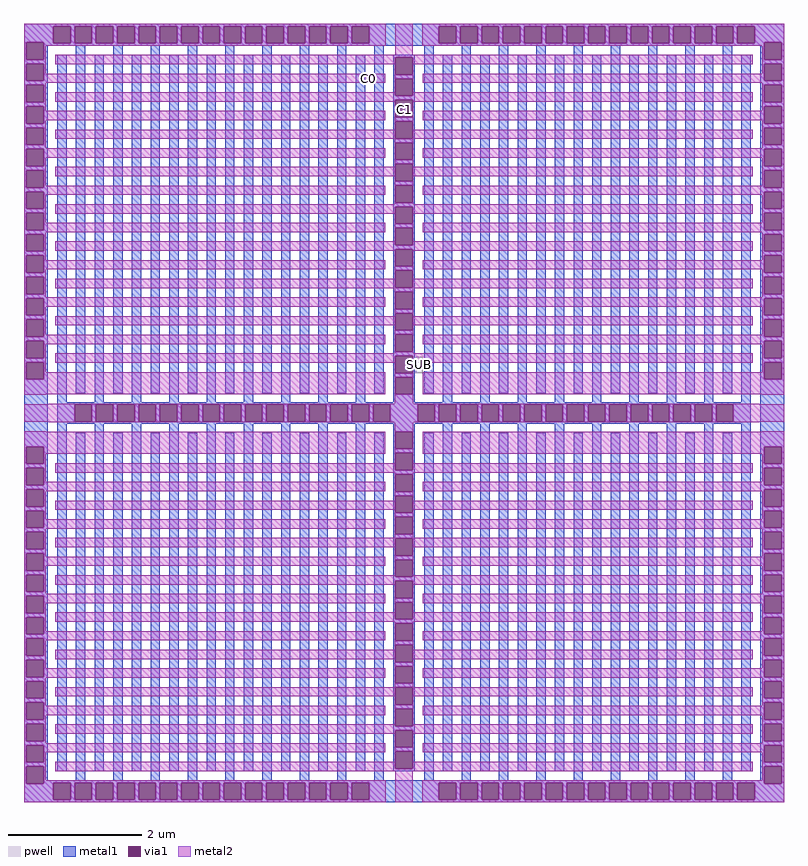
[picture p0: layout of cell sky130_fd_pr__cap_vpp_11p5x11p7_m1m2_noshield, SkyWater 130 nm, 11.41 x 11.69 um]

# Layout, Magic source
magic
tech sky130A
magscale 1 2
<< pwell >>
rect 1176 1289 1197 1338
<< metal1 >>
rect 0 2331 2282 2338
rect 0 2282 88 2331
rect 0 2230 7 2282
rect 59 2279 88 2282
rect 140 2279 152 2331
rect 204 2279 216 2331
rect 268 2279 280 2331
rect 332 2279 344 2331
rect 396 2279 408 2331
rect 460 2279 472 2331
rect 524 2279 536 2331
rect 588 2279 600 2331
rect 652 2279 664 2331
rect 716 2279 728 2331
rect 780 2279 792 2331
rect 844 2279 856 2331
rect 908 2279 920 2331
rect 972 2279 984 2331
rect 1036 2279 1246 2331
rect 1298 2279 1310 2331
rect 1362 2279 1374 2331
rect 1426 2279 1438 2331
rect 1490 2279 1502 2331
rect 1554 2279 1566 2331
rect 1618 2279 1630 2331
rect 1682 2279 1694 2331
rect 1746 2279 1758 2331
rect 1810 2279 1822 2331
rect 1874 2279 1886 2331
rect 1938 2279 1950 2331
rect 2002 2279 2014 2331
rect 2066 2279 2078 2331
rect 2130 2279 2142 2331
rect 2194 2282 2282 2331
rect 2194 2279 2223 2282
rect 59 2272 2223 2279
rect 59 2230 72 2272
rect 0 2218 72 2230
rect 0 2166 7 2218
rect 59 2166 72 2218
rect 0 2154 72 2166
rect 0 2102 7 2154
rect 59 2102 72 2154
rect 0 2090 72 2102
rect 0 2038 7 2090
rect 59 2038 72 2090
rect 0 2026 72 2038
rect 0 1974 7 2026
rect 59 1974 72 2026
rect 0 1962 72 1974
rect 0 1910 7 1962
rect 59 1910 72 1962
rect 0 1898 72 1910
rect 0 1846 7 1898
rect 59 1846 72 1898
rect 0 1834 72 1846
rect 0 1782 7 1834
rect 59 1782 72 1834
rect 0 1770 72 1782
rect 0 1718 7 1770
rect 59 1718 72 1770
rect 0 1706 72 1718
rect 0 1654 7 1706
rect 59 1654 72 1706
rect 0 1642 72 1654
rect 0 1590 7 1642
rect 59 1590 72 1642
rect 0 1578 72 1590
rect 0 1526 7 1578
rect 59 1526 72 1578
rect 0 1514 72 1526
rect 0 1462 7 1514
rect 59 1462 72 1514
rect 0 1450 72 1462
rect 0 1398 7 1450
rect 59 1398 72 1450
rect 0 1386 72 1398
rect 0 1334 7 1386
rect 59 1334 72 1386
rect 0 1322 72 1334
rect 0 1270 7 1322
rect 59 1270 72 1322
rect 0 1068 72 1270
rect 0 1016 7 1068
rect 59 1016 72 1068
rect 0 1004 72 1016
rect 0 952 7 1004
rect 59 952 72 1004
rect 0 940 72 952
rect 0 888 7 940
rect 59 888 72 940
rect 0 876 72 888
rect 0 824 7 876
rect 59 824 72 876
rect 0 812 72 824
rect 0 760 7 812
rect 59 760 72 812
rect 0 748 72 760
rect 0 696 7 748
rect 59 696 72 748
rect 0 684 72 696
rect 0 632 7 684
rect 59 632 72 684
rect 0 620 72 632
rect 0 568 7 620
rect 59 568 72 620
rect 0 556 72 568
rect 0 504 7 556
rect 59 504 72 556
rect 0 492 72 504
rect 0 440 7 492
rect 59 440 72 492
rect 0 428 72 440
rect 0 376 7 428
rect 59 376 72 428
rect 0 364 72 376
rect 0 312 7 364
rect 59 312 72 364
rect 0 300 72 312
rect 0 248 7 300
rect 59 248 72 300
rect 0 236 72 248
rect 0 184 7 236
rect 59 184 72 236
rect 0 172 72 184
rect 0 120 7 172
rect 59 120 72 172
rect 0 108 72 120
rect 0 56 7 108
rect 59 66 72 108
rect 100 1201 128 2244
rect 156 1229 184 2272
rect 212 1201 240 2244
rect 268 1229 296 2272
rect 324 1201 352 2244
rect 380 1229 408 2272
rect 436 1201 464 2244
rect 492 1229 520 2272
rect 548 1201 576 2244
rect 604 1229 632 2272
rect 660 1201 688 2244
rect 716 1229 744 2272
rect 772 1201 800 2244
rect 828 1229 856 2272
rect 884 1201 912 2244
rect 940 1229 968 2272
rect 996 1201 1024 2244
rect 1052 1229 1080 2272
rect 1108 2237 1174 2244
rect 1108 2185 1115 2237
rect 1167 2185 1174 2237
rect 1108 2173 1174 2185
rect 1108 2121 1115 2173
rect 1167 2121 1174 2173
rect 1108 2109 1174 2121
rect 1108 2057 1115 2109
rect 1167 2057 1174 2109
rect 1108 2045 1174 2057
rect 1108 1993 1115 2045
rect 1167 1993 1174 2045
rect 1108 1981 1174 1993
rect 1108 1929 1115 1981
rect 1167 1929 1174 1981
rect 1108 1917 1174 1929
rect 1108 1865 1115 1917
rect 1167 1865 1174 1917
rect 1108 1853 1174 1865
rect 1108 1801 1115 1853
rect 1167 1801 1174 1853
rect 1108 1789 1174 1801
rect 1108 1737 1115 1789
rect 1167 1737 1174 1789
rect 1108 1725 1174 1737
rect 1108 1673 1115 1725
rect 1167 1673 1174 1725
rect 1108 1661 1174 1673
rect 1108 1609 1115 1661
rect 1167 1609 1174 1661
rect 1108 1597 1174 1609
rect 1108 1545 1115 1597
rect 1167 1545 1174 1597
rect 1108 1533 1174 1545
rect 1108 1481 1115 1533
rect 1167 1481 1174 1533
rect 1108 1469 1174 1481
rect 1108 1417 1115 1469
rect 1167 1417 1174 1469
rect 1108 1405 1174 1417
rect 1108 1353 1115 1405
rect 1167 1353 1174 1405
rect 1108 1341 1174 1353
rect 1108 1289 1115 1341
rect 1167 1289 1174 1341
rect 1108 1277 1174 1289
rect 1108 1225 1115 1277
rect 1167 1225 1174 1277
rect 1202 1229 1230 2272
rect 1108 1201 1174 1225
rect 1258 1201 1286 2244
rect 1314 1229 1342 2272
rect 1370 1201 1398 2244
rect 1426 1229 1454 2272
rect 1482 1201 1510 2244
rect 1538 1229 1566 2272
rect 1594 1201 1622 2244
rect 1650 1229 1678 2272
rect 1706 1201 1734 2244
rect 1762 1229 1790 2272
rect 1818 1201 1846 2244
rect 1874 1229 1902 2272
rect 1930 1201 1958 2244
rect 1986 1229 2014 2272
rect 2042 1201 2070 2244
rect 2098 1229 2126 2272
rect 2154 1201 2182 2244
rect 100 1195 2182 1201
rect 100 1143 152 1195
rect 204 1143 216 1195
rect 268 1143 280 1195
rect 332 1143 344 1195
rect 396 1143 408 1195
rect 460 1143 472 1195
rect 524 1143 536 1195
rect 588 1143 600 1195
rect 652 1143 664 1195
rect 716 1143 728 1195
rect 780 1143 792 1195
rect 844 1143 856 1195
rect 908 1143 920 1195
rect 972 1143 984 1195
rect 1036 1143 1048 1195
rect 1100 1143 1182 1195
rect 1234 1143 1246 1195
rect 1298 1143 1310 1195
rect 1362 1143 1374 1195
rect 1426 1143 1438 1195
rect 1490 1143 1502 1195
rect 1554 1143 1566 1195
rect 1618 1143 1630 1195
rect 1682 1143 1694 1195
rect 1746 1143 1758 1195
rect 1810 1143 1822 1195
rect 1874 1143 1886 1195
rect 1938 1143 1950 1195
rect 2002 1143 2014 1195
rect 2066 1143 2078 1195
rect 2130 1143 2182 1195
rect 100 1137 2182 1143
rect 100 94 128 1137
rect 156 66 184 1109
rect 212 94 240 1137
rect 268 66 296 1109
rect 324 94 352 1137
rect 380 66 408 1109
rect 436 94 464 1137
rect 492 66 520 1109
rect 548 94 576 1137
rect 604 66 632 1109
rect 660 94 688 1137
rect 716 66 744 1109
rect 772 94 800 1137
rect 828 66 856 1109
rect 884 94 912 1137
rect 940 66 968 1109
rect 996 94 1024 1137
rect 1108 1113 1174 1137
rect 1052 66 1080 1109
rect 1108 1061 1115 1113
rect 1167 1061 1174 1113
rect 1108 1049 1174 1061
rect 1108 997 1115 1049
rect 1167 997 1174 1049
rect 1108 985 1174 997
rect 1108 933 1115 985
rect 1167 933 1174 985
rect 1108 921 1174 933
rect 1108 869 1115 921
rect 1167 869 1174 921
rect 1108 857 1174 869
rect 1108 805 1115 857
rect 1167 805 1174 857
rect 1108 793 1174 805
rect 1108 741 1115 793
rect 1167 741 1174 793
rect 1108 729 1174 741
rect 1108 677 1115 729
rect 1167 677 1174 729
rect 1108 665 1174 677
rect 1108 613 1115 665
rect 1167 613 1174 665
rect 1108 601 1174 613
rect 1108 549 1115 601
rect 1167 549 1174 601
rect 1108 537 1174 549
rect 1108 485 1115 537
rect 1167 485 1174 537
rect 1108 473 1174 485
rect 1108 421 1115 473
rect 1167 421 1174 473
rect 1108 409 1174 421
rect 1108 357 1115 409
rect 1167 357 1174 409
rect 1108 345 1174 357
rect 1108 293 1115 345
rect 1167 293 1174 345
rect 1108 281 1174 293
rect 1108 229 1115 281
rect 1167 229 1174 281
rect 1108 217 1174 229
rect 1108 165 1115 217
rect 1167 165 1174 217
rect 1108 153 1174 165
rect 1108 101 1115 153
rect 1167 101 1174 153
rect 1108 94 1174 101
rect 1202 66 1230 1109
rect 1258 94 1286 1137
rect 1314 66 1342 1109
rect 1370 94 1398 1137
rect 1426 66 1454 1109
rect 1482 94 1510 1137
rect 1538 66 1566 1109
rect 1594 94 1622 1137
rect 1650 66 1678 1109
rect 1706 94 1734 1137
rect 1762 66 1790 1109
rect 1818 94 1846 1137
rect 1874 66 1902 1109
rect 1930 94 1958 1137
rect 1986 66 2014 1109
rect 2042 94 2070 1137
rect 2098 66 2126 1109
rect 2154 94 2182 1137
rect 2210 2230 2223 2272
rect 2275 2230 2282 2282
rect 2210 2218 2282 2230
rect 2210 2166 2223 2218
rect 2275 2166 2282 2218
rect 2210 2154 2282 2166
rect 2210 2102 2223 2154
rect 2275 2102 2282 2154
rect 2210 2090 2282 2102
rect 2210 2038 2223 2090
rect 2275 2038 2282 2090
rect 2210 2026 2282 2038
rect 2210 1974 2223 2026
rect 2275 1974 2282 2026
rect 2210 1962 2282 1974
rect 2210 1910 2223 1962
rect 2275 1910 2282 1962
rect 2210 1898 2282 1910
rect 2210 1846 2223 1898
rect 2275 1846 2282 1898
rect 2210 1834 2282 1846
rect 2210 1782 2223 1834
rect 2275 1782 2282 1834
rect 2210 1770 2282 1782
rect 2210 1718 2223 1770
rect 2275 1718 2282 1770
rect 2210 1706 2282 1718
rect 2210 1654 2223 1706
rect 2275 1654 2282 1706
rect 2210 1642 2282 1654
rect 2210 1590 2223 1642
rect 2275 1590 2282 1642
rect 2210 1578 2282 1590
rect 2210 1526 2223 1578
rect 2275 1526 2282 1578
rect 2210 1514 2282 1526
rect 2210 1462 2223 1514
rect 2275 1462 2282 1514
rect 2210 1450 2282 1462
rect 2210 1398 2223 1450
rect 2275 1398 2282 1450
rect 2210 1386 2282 1398
rect 2210 1334 2223 1386
rect 2275 1334 2282 1386
rect 2210 1322 2282 1334
rect 2210 1270 2223 1322
rect 2275 1270 2282 1322
rect 2210 1068 2282 1270
rect 2210 1016 2223 1068
rect 2275 1016 2282 1068
rect 2210 1004 2282 1016
rect 2210 952 2223 1004
rect 2275 952 2282 1004
rect 2210 940 2282 952
rect 2210 888 2223 940
rect 2275 888 2282 940
rect 2210 876 2282 888
rect 2210 824 2223 876
rect 2275 824 2282 876
rect 2210 812 2282 824
rect 2210 760 2223 812
rect 2275 760 2282 812
rect 2210 748 2282 760
rect 2210 696 2223 748
rect 2275 696 2282 748
rect 2210 684 2282 696
rect 2210 632 2223 684
rect 2275 632 2282 684
rect 2210 620 2282 632
rect 2210 568 2223 620
rect 2275 568 2282 620
rect 2210 556 2282 568
rect 2210 504 2223 556
rect 2275 504 2282 556
rect 2210 492 2282 504
rect 2210 440 2223 492
rect 2275 440 2282 492
rect 2210 428 2282 440
rect 2210 376 2223 428
rect 2275 376 2282 428
rect 2210 364 2282 376
rect 2210 312 2223 364
rect 2275 312 2282 364
rect 2210 300 2282 312
rect 2210 248 2223 300
rect 2275 248 2282 300
rect 2210 236 2282 248
rect 2210 184 2223 236
rect 2275 184 2282 236
rect 2210 172 2282 184
rect 2210 120 2223 172
rect 2275 120 2282 172
rect 2210 108 2282 120
rect 2210 66 2223 108
rect 59 59 2223 66
rect 59 56 88 59
rect 0 7 88 56
rect 140 7 152 59
rect 204 7 216 59
rect 268 7 280 59
rect 332 7 344 59
rect 396 7 408 59
rect 460 7 472 59
rect 524 7 536 59
rect 588 7 600 59
rect 652 7 664 59
rect 716 7 728 59
rect 780 7 792 59
rect 844 7 856 59
rect 908 7 920 59
rect 972 7 984 59
rect 1036 7 1246 59
rect 1298 7 1310 59
rect 1362 7 1374 59
rect 1426 7 1438 59
rect 1490 7 1502 59
rect 1554 7 1566 59
rect 1618 7 1630 59
rect 1682 7 1694 59
rect 1746 7 1758 59
rect 1810 7 1822 59
rect 1874 7 1886 59
rect 1938 7 1950 59
rect 2002 7 2014 59
rect 2066 7 2078 59
rect 2130 7 2142 59
rect 2194 56 2223 59
rect 2275 56 2282 108
rect 2194 7 2282 56
rect 0 0 2282 7
<< via1 >>
rect 7 2230 59 2282
rect 88 2279 140 2331
rect 152 2279 204 2331
rect 216 2279 268 2331
rect 280 2279 332 2331
rect 344 2279 396 2331
rect 408 2279 460 2331
rect 472 2279 524 2331
rect 536 2279 588 2331
rect 600 2279 652 2331
rect 664 2279 716 2331
rect 728 2279 780 2331
rect 792 2279 844 2331
rect 856 2279 908 2331
rect 920 2279 972 2331
rect 984 2279 1036 2331
rect 1246 2279 1298 2331
rect 1310 2279 1362 2331
rect 1374 2279 1426 2331
rect 1438 2279 1490 2331
rect 1502 2279 1554 2331
rect 1566 2279 1618 2331
rect 1630 2279 1682 2331
rect 1694 2279 1746 2331
rect 1758 2279 1810 2331
rect 1822 2279 1874 2331
rect 1886 2279 1938 2331
rect 1950 2279 2002 2331
rect 2014 2279 2066 2331
rect 2078 2279 2130 2331
rect 2142 2279 2194 2331
rect 7 2166 59 2218
rect 7 2102 59 2154
rect 7 2038 59 2090
rect 7 1974 59 2026
rect 7 1910 59 1962
rect 7 1846 59 1898
rect 7 1782 59 1834
rect 7 1718 59 1770
rect 7 1654 59 1706
rect 7 1590 59 1642
rect 7 1526 59 1578
rect 7 1462 59 1514
rect 7 1398 59 1450
rect 7 1334 59 1386
rect 7 1270 59 1322
rect 7 1016 59 1068
rect 7 952 59 1004
rect 7 888 59 940
rect 7 824 59 876
rect 7 760 59 812
rect 7 696 59 748
rect 7 632 59 684
rect 7 568 59 620
rect 7 504 59 556
rect 7 440 59 492
rect 7 376 59 428
rect 7 312 59 364
rect 7 248 59 300
rect 7 184 59 236
rect 7 120 59 172
rect 7 56 59 108
rect 1115 2185 1167 2237
rect 1115 2121 1167 2173
rect 1115 2057 1167 2109
rect 1115 1993 1167 2045
rect 1115 1929 1167 1981
rect 1115 1865 1167 1917
rect 1115 1801 1167 1853
rect 1115 1737 1167 1789
rect 1115 1673 1167 1725
rect 1115 1609 1167 1661
rect 1115 1545 1167 1597
rect 1115 1481 1167 1533
rect 1115 1417 1167 1469
rect 1115 1353 1167 1405
rect 1115 1289 1167 1341
rect 1115 1225 1167 1277
rect 152 1143 204 1195
rect 216 1143 268 1195
rect 280 1143 332 1195
rect 344 1143 396 1195
rect 408 1143 460 1195
rect 472 1143 524 1195
rect 536 1143 588 1195
rect 600 1143 652 1195
rect 664 1143 716 1195
rect 728 1143 780 1195
rect 792 1143 844 1195
rect 856 1143 908 1195
rect 920 1143 972 1195
rect 984 1143 1036 1195
rect 1048 1143 1100 1195
rect 1182 1143 1234 1195
rect 1246 1143 1298 1195
rect 1310 1143 1362 1195
rect 1374 1143 1426 1195
rect 1438 1143 1490 1195
rect 1502 1143 1554 1195
rect 1566 1143 1618 1195
rect 1630 1143 1682 1195
rect 1694 1143 1746 1195
rect 1758 1143 1810 1195
rect 1822 1143 1874 1195
rect 1886 1143 1938 1195
rect 1950 1143 2002 1195
rect 2014 1143 2066 1195
rect 2078 1143 2130 1195
rect 1115 1061 1167 1113
rect 1115 997 1167 1049
rect 1115 933 1167 985
rect 1115 869 1167 921
rect 1115 805 1167 857
rect 1115 741 1167 793
rect 1115 677 1167 729
rect 1115 613 1167 665
rect 1115 549 1167 601
rect 1115 485 1167 537
rect 1115 421 1167 473
rect 1115 357 1167 409
rect 1115 293 1167 345
rect 1115 229 1167 281
rect 1115 165 1167 217
rect 1115 101 1167 153
rect 2223 2230 2275 2282
rect 2223 2166 2275 2218
rect 2223 2102 2275 2154
rect 2223 2038 2275 2090
rect 2223 1974 2275 2026
rect 2223 1910 2275 1962
rect 2223 1846 2275 1898
rect 2223 1782 2275 1834
rect 2223 1718 2275 1770
rect 2223 1654 2275 1706
rect 2223 1590 2275 1642
rect 2223 1526 2275 1578
rect 2223 1462 2275 1514
rect 2223 1398 2275 1450
rect 2223 1334 2275 1386
rect 2223 1270 2275 1322
rect 2223 1016 2275 1068
rect 2223 952 2275 1004
rect 2223 888 2275 940
rect 2223 824 2275 876
rect 2223 760 2275 812
rect 2223 696 2275 748
rect 2223 632 2275 684
rect 2223 568 2275 620
rect 2223 504 2275 556
rect 2223 440 2275 492
rect 2223 376 2275 428
rect 2223 312 2275 364
rect 2223 248 2275 300
rect 2223 184 2275 236
rect 2223 120 2275 172
rect 88 7 140 59
rect 152 7 204 59
rect 216 7 268 59
rect 280 7 332 59
rect 344 7 396 59
rect 408 7 460 59
rect 472 7 524 59
rect 536 7 588 59
rect 600 7 652 59
rect 664 7 716 59
rect 728 7 780 59
rect 792 7 844 59
rect 856 7 908 59
rect 920 7 972 59
rect 984 7 1036 59
rect 1246 7 1298 59
rect 1310 7 1362 59
rect 1374 7 1426 59
rect 1438 7 1490 59
rect 1502 7 1554 59
rect 1566 7 1618 59
rect 1630 7 1682 59
rect 1694 7 1746 59
rect 1758 7 1810 59
rect 1822 7 1874 59
rect 1886 7 1938 59
rect 1950 7 2002 59
rect 2014 7 2066 59
rect 2078 7 2130 59
rect 2142 7 2194 59
rect 2223 56 2275 108
<< metal2 >>
rect 0 2331 1086 2338
rect 0 2282 88 2331
rect 0 2230 7 2282
rect 59 2279 88 2282
rect 140 2279 152 2331
rect 204 2279 216 2331
rect 268 2279 280 2331
rect 332 2279 344 2331
rect 396 2279 408 2331
rect 460 2279 472 2331
rect 524 2279 536 2331
rect 588 2279 600 2331
rect 652 2279 664 2331
rect 716 2279 728 2331
rect 780 2279 792 2331
rect 844 2279 856 2331
rect 908 2279 920 2331
rect 972 2279 984 2331
rect 1036 2279 1086 2331
rect 59 2272 1086 2279
rect 59 2230 66 2272
rect 1114 2244 1168 2338
rect 1196 2331 2282 2338
rect 1196 2279 1246 2331
rect 1298 2279 1310 2331
rect 1362 2279 1374 2331
rect 1426 2279 1438 2331
rect 1490 2279 1502 2331
rect 1554 2279 1566 2331
rect 1618 2279 1630 2331
rect 1682 2279 1694 2331
rect 1746 2279 1758 2331
rect 1810 2279 1822 2331
rect 1874 2279 1886 2331
rect 1938 2279 1950 2331
rect 2002 2279 2014 2331
rect 2066 2279 2078 2331
rect 2130 2279 2142 2331
rect 2194 2282 2282 2331
rect 2194 2279 2223 2282
rect 1196 2272 2223 2279
rect 0 2218 66 2230
rect 0 2166 7 2218
rect 59 2188 66 2218
rect 94 2237 2188 2244
rect 94 2216 1115 2237
rect 59 2166 1085 2188
rect 0 2160 1085 2166
rect 1113 2185 1115 2216
rect 1167 2216 2188 2237
rect 2216 2230 2223 2272
rect 2275 2230 2282 2282
rect 2216 2218 2282 2230
rect 1167 2185 1169 2216
rect 2216 2188 2223 2218
rect 1113 2173 1169 2185
rect 0 2154 66 2160
rect 0 2102 7 2154
rect 59 2102 66 2154
rect 1113 2132 1115 2173
rect 94 2121 1115 2132
rect 1167 2132 1169 2173
rect 1197 2166 2223 2188
rect 2275 2166 2282 2218
rect 1197 2160 2282 2166
rect 2216 2154 2282 2160
rect 1167 2121 2188 2132
rect 94 2109 2188 2121
rect 94 2104 1115 2109
rect 0 2090 66 2102
rect 0 2038 7 2090
rect 59 2076 66 2090
rect 59 2048 1085 2076
rect 1113 2057 1115 2104
rect 1167 2104 2188 2109
rect 1167 2057 1169 2104
rect 2216 2102 2223 2154
rect 2275 2102 2282 2154
rect 2216 2090 2282 2102
rect 2216 2076 2223 2090
rect 59 2038 66 2048
rect 0 2026 66 2038
rect 0 1974 7 2026
rect 59 1974 66 2026
rect 1113 2045 1169 2057
rect 1197 2048 2223 2076
rect 1113 2020 1115 2045
rect 94 1993 1115 2020
rect 1167 2020 1169 2045
rect 2216 2038 2223 2048
rect 2275 2038 2282 2090
rect 2216 2026 2282 2038
rect 1167 1993 2188 2020
rect 94 1992 2188 1993
rect 0 1964 66 1974
rect 1113 1981 1169 1992
rect 0 1962 1085 1964
rect 0 1910 7 1962
rect 59 1936 1085 1962
rect 59 1910 66 1936
rect 0 1898 66 1910
rect 1113 1929 1115 1981
rect 1167 1929 1169 1981
rect 2216 1974 2223 2026
rect 2275 1974 2282 2026
rect 2216 1964 2282 1974
rect 1197 1962 2282 1964
rect 1197 1936 2223 1962
rect 1113 1917 1169 1929
rect 1113 1908 1115 1917
rect 0 1846 7 1898
rect 59 1852 66 1898
rect 94 1880 1115 1908
rect 1113 1865 1115 1880
rect 1167 1908 1169 1917
rect 2216 1910 2223 1936
rect 2275 1910 2282 1962
rect 1167 1880 2188 1908
rect 2216 1898 2282 1910
rect 1167 1865 1169 1880
rect 1113 1853 1169 1865
rect 59 1846 1085 1852
rect 0 1834 1085 1846
rect 0 1782 7 1834
rect 59 1824 1085 1834
rect 59 1782 66 1824
rect 1113 1801 1115 1853
rect 1167 1801 1169 1853
rect 2216 1852 2223 1898
rect 1197 1846 2223 1852
rect 2275 1846 2282 1898
rect 1197 1834 2282 1846
rect 1197 1824 2223 1834
rect 1113 1796 1169 1801
rect 0 1770 66 1782
rect 0 1718 7 1770
rect 59 1740 66 1770
rect 94 1789 2188 1796
rect 94 1768 1115 1789
rect 59 1718 1085 1740
rect 0 1712 1085 1718
rect 1113 1737 1115 1768
rect 1167 1768 2188 1789
rect 2216 1782 2223 1824
rect 2275 1782 2282 1834
rect 2216 1770 2282 1782
rect 1167 1737 1169 1768
rect 2216 1740 2223 1770
rect 1113 1725 1169 1737
rect 0 1706 66 1712
rect 0 1654 7 1706
rect 59 1654 66 1706
rect 1113 1684 1115 1725
rect 94 1673 1115 1684
rect 1167 1684 1169 1725
rect 1197 1718 2223 1740
rect 2275 1718 2282 1770
rect 1197 1712 2282 1718
rect 2216 1706 2282 1712
rect 1167 1673 2188 1684
rect 94 1661 2188 1673
rect 94 1656 1115 1661
rect 0 1642 66 1654
rect 0 1590 7 1642
rect 59 1628 66 1642
rect 59 1600 1085 1628
rect 1113 1609 1115 1656
rect 1167 1656 2188 1661
rect 1167 1609 1169 1656
rect 2216 1654 2223 1706
rect 2275 1654 2282 1706
rect 2216 1642 2282 1654
rect 2216 1628 2223 1642
rect 59 1590 66 1600
rect 0 1578 66 1590
rect 0 1526 7 1578
rect 59 1526 66 1578
rect 1113 1597 1169 1609
rect 1197 1600 2223 1628
rect 1113 1572 1115 1597
rect 94 1545 1115 1572
rect 1167 1572 1169 1597
rect 2216 1590 2223 1600
rect 2275 1590 2282 1642
rect 2216 1578 2282 1590
rect 1167 1545 2188 1572
rect 94 1544 2188 1545
rect 0 1516 66 1526
rect 1113 1533 1169 1544
rect 0 1514 1085 1516
rect 0 1462 7 1514
rect 59 1488 1085 1514
rect 59 1462 66 1488
rect 0 1450 66 1462
rect 1113 1481 1115 1533
rect 1167 1481 1169 1533
rect 2216 1526 2223 1578
rect 2275 1526 2282 1578
rect 2216 1516 2282 1526
rect 1197 1514 2282 1516
rect 1197 1488 2223 1514
rect 1113 1469 1169 1481
rect 1113 1460 1115 1469
rect 0 1398 7 1450
rect 59 1404 66 1450
rect 94 1432 1115 1460
rect 1113 1417 1115 1432
rect 1167 1460 1169 1469
rect 2216 1462 2223 1488
rect 2275 1462 2282 1514
rect 1167 1432 2188 1460
rect 2216 1450 2282 1462
rect 1167 1417 1169 1432
rect 1113 1405 1169 1417
rect 59 1398 1085 1404
rect 0 1386 1085 1398
rect 0 1334 7 1386
rect 59 1376 1085 1386
rect 59 1334 66 1376
rect 1113 1353 1115 1405
rect 1167 1353 1169 1405
rect 2216 1404 2223 1450
rect 1197 1398 2223 1404
rect 2275 1398 2282 1450
rect 1197 1386 2282 1398
rect 1197 1376 2223 1386
rect 1113 1348 1169 1353
rect 0 1322 66 1334
rect 0 1270 7 1322
rect 59 1292 66 1322
rect 94 1341 2188 1348
rect 94 1320 1115 1341
rect 59 1270 1085 1292
rect 0 1225 1085 1270
rect 1113 1289 1115 1320
rect 1167 1320 2188 1341
rect 2216 1334 2223 1376
rect 2275 1334 2282 1386
rect 2216 1322 2282 1334
rect 1167 1289 1169 1320
rect 2216 1292 2223 1322
rect 1113 1277 1169 1289
rect 1113 1225 1115 1277
rect 1167 1225 1169 1277
rect 1197 1270 2223 1292
rect 2275 1270 2282 1322
rect 1197 1225 2282 1270
rect 0 1224 66 1225
rect 1113 1197 1169 1225
rect 2216 1224 2282 1225
rect 74 1196 2208 1197
rect 0 1195 2282 1196
rect 0 1143 152 1195
rect 204 1143 216 1195
rect 268 1143 280 1195
rect 332 1143 344 1195
rect 396 1143 408 1195
rect 460 1143 472 1195
rect 524 1143 536 1195
rect 588 1143 600 1195
rect 652 1143 664 1195
rect 716 1143 728 1195
rect 780 1143 792 1195
rect 844 1143 856 1195
rect 908 1143 920 1195
rect 972 1143 984 1195
rect 1036 1143 1048 1195
rect 1100 1143 1182 1195
rect 1234 1143 1246 1195
rect 1298 1143 1310 1195
rect 1362 1143 1374 1195
rect 1426 1143 1438 1195
rect 1490 1143 1502 1195
rect 1554 1143 1566 1195
rect 1618 1143 1630 1195
rect 1682 1143 1694 1195
rect 1746 1143 1758 1195
rect 1810 1143 1822 1195
rect 1874 1143 1886 1195
rect 1938 1143 1950 1195
rect 2002 1143 2014 1195
rect 2066 1143 2078 1195
rect 2130 1143 2282 1195
rect 0 1142 2282 1143
rect 74 1141 2208 1142
rect 0 1113 66 1114
rect 1113 1113 1169 1141
rect 2216 1113 2282 1114
rect 0 1068 1085 1113
rect 0 1016 7 1068
rect 59 1046 1085 1068
rect 1113 1061 1115 1113
rect 1167 1061 1169 1113
rect 1113 1049 1169 1061
rect 59 1016 66 1046
rect 1113 1018 1115 1049
rect 0 1004 66 1016
rect 0 952 7 1004
rect 59 962 66 1004
rect 94 997 1115 1018
rect 1167 1018 1169 1049
rect 1197 1068 2282 1113
rect 1197 1046 2223 1068
rect 1167 997 2188 1018
rect 94 990 2188 997
rect 2216 1016 2223 1046
rect 2275 1016 2282 1068
rect 2216 1004 2282 1016
rect 1113 985 1169 990
rect 59 952 1085 962
rect 0 940 1085 952
rect 0 888 7 940
rect 59 934 1085 940
rect 59 888 66 934
rect 1113 933 1115 985
rect 1167 933 1169 985
rect 2216 962 2223 1004
rect 1197 952 2223 962
rect 2275 952 2282 1004
rect 1197 940 2282 952
rect 1197 934 2223 940
rect 1113 921 1169 933
rect 1113 906 1115 921
rect 0 876 66 888
rect 94 878 1115 906
rect 0 824 7 876
rect 59 850 66 876
rect 1113 869 1115 878
rect 1167 906 1169 921
rect 1167 878 2188 906
rect 2216 888 2223 934
rect 2275 888 2282 940
rect 1167 869 1169 878
rect 1113 857 1169 869
rect 59 824 1085 850
rect 0 822 1085 824
rect 0 812 66 822
rect 0 760 7 812
rect 59 760 66 812
rect 1113 805 1115 857
rect 1167 805 1169 857
rect 2216 876 2282 888
rect 2216 850 2223 876
rect 1197 824 2223 850
rect 2275 824 2282 876
rect 1197 822 2282 824
rect 1113 794 1169 805
rect 2216 812 2282 822
rect 94 793 2188 794
rect 94 766 1115 793
rect 0 748 66 760
rect 0 696 7 748
rect 59 738 66 748
rect 1113 741 1115 766
rect 1167 766 2188 793
rect 1167 741 1169 766
rect 59 710 1085 738
rect 1113 729 1169 741
rect 2216 760 2223 812
rect 2275 760 2282 812
rect 2216 748 2282 760
rect 2216 738 2223 748
rect 59 696 66 710
rect 0 684 66 696
rect 0 632 7 684
rect 59 632 66 684
rect 1113 682 1115 729
rect 94 677 1115 682
rect 1167 682 1169 729
rect 1197 710 2223 738
rect 2216 696 2223 710
rect 2275 696 2282 748
rect 2216 684 2282 696
rect 1167 677 2188 682
rect 94 665 2188 677
rect 94 654 1115 665
rect 0 626 66 632
rect 0 620 1085 626
rect 0 568 7 620
rect 59 598 1085 620
rect 1113 613 1115 654
rect 1167 654 2188 665
rect 1167 613 1169 654
rect 2216 632 2223 684
rect 2275 632 2282 684
rect 2216 626 2282 632
rect 1113 601 1169 613
rect 59 568 66 598
rect 1113 570 1115 601
rect 0 556 66 568
rect 0 504 7 556
rect 59 514 66 556
rect 94 549 1115 570
rect 1167 570 1169 601
rect 1197 620 2282 626
rect 1197 598 2223 620
rect 1167 549 2188 570
rect 94 542 2188 549
rect 2216 568 2223 598
rect 2275 568 2282 620
rect 2216 556 2282 568
rect 1113 537 1169 542
rect 59 504 1085 514
rect 0 492 1085 504
rect 0 440 7 492
rect 59 486 1085 492
rect 59 440 66 486
rect 1113 485 1115 537
rect 1167 485 1169 537
rect 2216 514 2223 556
rect 1197 504 2223 514
rect 2275 504 2282 556
rect 1197 492 2282 504
rect 1197 486 2223 492
rect 1113 473 1169 485
rect 1113 458 1115 473
rect 0 428 66 440
rect 94 430 1115 458
rect 0 376 7 428
rect 59 402 66 428
rect 1113 421 1115 430
rect 1167 458 1169 473
rect 1167 430 2188 458
rect 2216 440 2223 486
rect 2275 440 2282 492
rect 1167 421 1169 430
rect 1113 409 1169 421
rect 59 376 1085 402
rect 0 374 1085 376
rect 0 364 66 374
rect 0 312 7 364
rect 59 312 66 364
rect 1113 357 1115 409
rect 1167 357 1169 409
rect 2216 428 2282 440
rect 2216 402 2223 428
rect 1197 376 2223 402
rect 2275 376 2282 428
rect 1197 374 2282 376
rect 1113 346 1169 357
rect 2216 364 2282 374
rect 94 345 2188 346
rect 94 318 1115 345
rect 0 300 66 312
rect 0 248 7 300
rect 59 290 66 300
rect 1113 293 1115 318
rect 1167 318 2188 345
rect 1167 293 1169 318
rect 59 262 1085 290
rect 1113 281 1169 293
rect 2216 312 2223 364
rect 2275 312 2282 364
rect 2216 300 2282 312
rect 2216 290 2223 300
rect 59 248 66 262
rect 0 236 66 248
rect 0 184 7 236
rect 59 184 66 236
rect 1113 234 1115 281
rect 94 229 1115 234
rect 1167 234 1169 281
rect 1197 262 2223 290
rect 2216 248 2223 262
rect 2275 248 2282 300
rect 2216 236 2282 248
rect 1167 229 2188 234
rect 94 217 2188 229
rect 94 206 1115 217
rect 0 178 66 184
rect 0 172 1085 178
rect 0 120 7 172
rect 59 150 1085 172
rect 1113 165 1115 206
rect 1167 206 2188 217
rect 1167 165 1169 206
rect 2216 184 2223 236
rect 2275 184 2282 236
rect 2216 178 2282 184
rect 1113 153 1169 165
rect 59 120 66 150
rect 1113 122 1115 153
rect 0 108 66 120
rect 0 56 7 108
rect 59 66 66 108
rect 94 101 1115 122
rect 1167 122 1169 153
rect 1197 172 2282 178
rect 1197 150 2223 172
rect 1167 101 2188 122
rect 94 94 2188 101
rect 2216 120 2223 150
rect 2275 120 2282 172
rect 2216 108 2282 120
rect 59 59 1086 66
rect 59 56 88 59
rect 0 7 88 56
rect 140 7 152 59
rect 204 7 216 59
rect 268 7 280 59
rect 332 7 344 59
rect 396 7 408 59
rect 460 7 472 59
rect 524 7 536 59
rect 588 7 600 59
rect 652 7 664 59
rect 716 7 728 59
rect 780 7 792 59
rect 844 7 856 59
rect 908 7 920 59
rect 972 7 984 59
rect 1036 7 1086 59
rect 0 0 1086 7
rect 1114 0 1168 94
rect 2216 66 2223 108
rect 1196 59 2223 66
rect 1196 7 1246 59
rect 1298 7 1310 59
rect 1362 7 1374 59
rect 1426 7 1438 59
rect 1490 7 1502 59
rect 1554 7 1566 59
rect 1618 7 1630 59
rect 1682 7 1694 59
rect 1746 7 1758 59
rect 1810 7 1822 59
rect 1874 7 1886 59
rect 1938 7 1950 59
rect 2002 7 2014 59
rect 2066 7 2078 59
rect 2130 7 2142 59
rect 2194 56 2223 59
rect 2275 56 2282 108
rect 2194 7 2282 56
rect 1196 0 2282 7
<< labels >>
flabel metal2 s 1019 2162 1049 2184 0 FreeSans 200 0 0 0 C0
port 1 nsew
flabel metal2 s 1121 2062 1163 2098 0 FreeSans 200 0 0 0 C1
port 2 nsew
flabel pwell s 1176 1289 1197 1338 0 FreeSans 2000 0 0 0 SUB
port 3 nsew
<< properties >>
string gencell sky130_fd_pr__cap_vpp_11p5x11p7_m1m2_noshield
string GDS_FILE $PDKPATH/libs.ref/sky130_fd_pr/gds/sky130_fd_pr.gds
string GDS_END 947336
string GDS_START 922202
string parameter m=1
string library sky130
<< end >>
